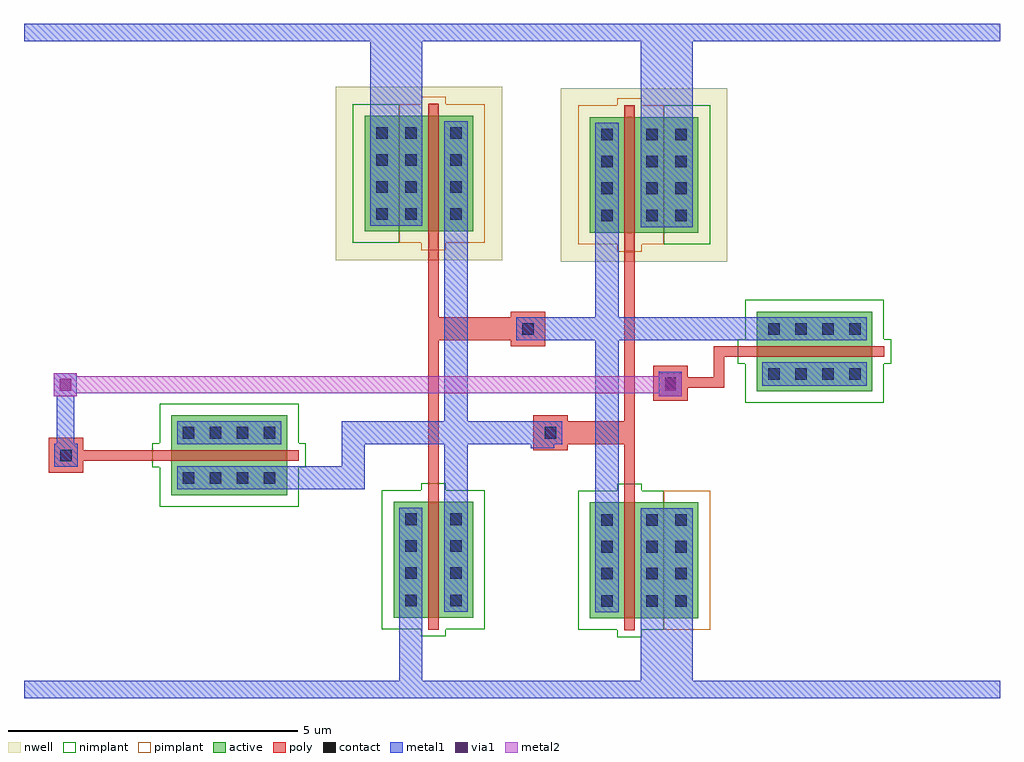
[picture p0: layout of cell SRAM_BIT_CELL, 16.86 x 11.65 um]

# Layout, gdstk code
from math import pi, radians
import gdstk
lib = gdstk.Library(unit=1e-6, precision=5e-10)
def R(c, l, rs):  # rectangles x0, y0, x1, y1
    for r in rs: c.add(gdstk.rectangle(r[:2], r[2:], *l))
def A(c, l, x, y, w, h, nx, ny, dx, dy):  # array of equal rectangles
    R(c, l, [(x+i*dx, y+j*dy, x+i*dx+w, y+j*dy+h) for i in range(nx) for j in range(ny)])
active = (1, 0)
nwell = (2, 0)
poly = (3, 0)
nimplant = (4, 0)
pimplant = (5, 0)
contact = (6, 0)
metal1 = (7, 0)
via1 = (8, 0)
metal2 = (9, 0)

nmos_cdns_774211529720 = lib.new_cell('nmos_CDNS_774211529720')
R(nmos_cdns_774211529720, active, [(-0.6,0,0,2), (0,0,0.18,2), (0.18,0,0.78,2)])
R(nmos_cdns_774211529720, poly, [(0,-0.205,0.18,-0.2), (0,-0.2,0.18,0), (0,0,0.18,2), (0,2,0.18,2.2), (0,2.2,0.18,2.205)])
R(nmos_cdns_774211529720, nimplant, [(-0.12,-0.325,0.3,-0.2), (-0.8,-0.2,0.98,2.2), (-0.12,2.2,0.3,2.325)])
A(nmos_cdns_774211529720, contact, -0.4, 0.67, 0.2, 0.2, 1, 3, 0, 0.465)
A(nmos_cdns_774211529720, contact, 0.38, 0.67, 0.2, 0.2, 1, 3, 0, 0.465)
R(nmos_cdns_774211529720, contact, [(-0.4,0.2,-0.2,0.4), (0.38,0.2,0.58,0.4)])
R(nmos_cdns_774211529720, metal1, [(-0.5,0.1,-0.1,1.9), (0.28,0.1,0.68,1.9)])

nmos_cdns_774211529721 = lib.new_cell('nmos_CDNS_774211529721')
R(nmos_cdns_774211529721, active, [(-0.6,0,0,2), (0,0,0.18,2), (0.18,0,1.28,2)])
R(nmos_cdns_774211529721, poly, [(0,-0.205,0.18,-0.2), (0,-0.2,0.18,0), (0,0,0.18,2), (0,2,0.18,2.2), (0,2.2,0.18,2.205)])
R(nmos_cdns_774211529721, nimplant, [(-0.12,-0.325,0.3,-0.2), (-0.8,-0.2,0.68,2.2), (-0.12,2.2,0.3,2.325)])
R(nmos_cdns_774211529721, pimplant, [(0.68,-0.2,1.48,2.2)])
A(nmos_cdns_774211529721, contact, -0.4, 0.67, 0.2, 0.2, 1, 3, 0, 0.465)
A(nmos_cdns_774211529721, contact, 0.38, 0.67, 0.2, 0.2, 1, 3, 0, 0.465)
A(nmos_cdns_774211529721, contact, 0.88, 0.67, 0.2, 0.2, 1, 3, 0, 0.465)
R(nmos_cdns_774211529721, contact, [(-0.4,0.2,-0.2,0.4), (0.38,0.2,0.58,0.4), (0.88,0.2,1.08,0.4)])
R(nmos_cdns_774211529721, metal1, [(-0.5,0.1,-0.1,1.9), (0.28,0.1,1.18,1.9), (0.28,0.1,1.18,1.9)])

pmos_cdns_774211529722 = lib.new_cell('pmos_CDNS_774211529722')
R(pmos_cdns_774211529722, active, [(-0.6,0,0,2), (0,0,0.18,2), (0.18,0,1.28,2)])
R(pmos_cdns_774211529722, nwell, [(-1.1,-0.5,1.78,2.5)])
R(pmos_cdns_774211529722, poly, [(0,-0.205,0.18,-0.2), (0,-0.2,0.18,0), (0,0,0.18,2), (0,2,0.18,2.2), (0,2.2,0.18,2.205)])
R(pmos_cdns_774211529722, nimplant, [(0.68,-0.2,1.48,2.2)])
R(pmos_cdns_774211529722, pimplant, [(-0.12,-0.325,0.3,-0.2), (-0.8,-0.2,0.68,2.2), (-0.12,2.2,0.3,2.325)])
A(pmos_cdns_774211529722, contact, -0.4, 0.67, 0.2, 0.2, 1, 3, 0, 0.465)
A(pmos_cdns_774211529722, contact, 0.38, 0.67, 0.2, 0.2, 1, 3, 0, 0.465)
A(pmos_cdns_774211529722, contact, 0.88, 0.67, 0.2, 0.2, 1, 3, 0, 0.465)
R(pmos_cdns_774211529722, contact, [(-0.4,0.2,-0.2,0.4), (0.38,0.2,0.58,0.4), (0.88,0.2,1.08,0.4)])
R(pmos_cdns_774211529722, metal1, [(-0.5,0.1,-0.1,1.9), (0.28,0.1,1.18,1.9), (0.28,0.1,1.18,1.9)])

pmos_cdns_774211529723 = lib.new_cell('pmos_CDNS_774211529723')
R(pmos_cdns_774211529723, active, [(-1.1,0,0,2), (0,0,0.18,2), (0.18,0,0.78,2)])
R(pmos_cdns_774211529723, nwell, [(-1.6,-0.5,1.28,2.5)])
R(pmos_cdns_774211529723, poly, [(0,-0.205,0.18,-0.2), (0,-0.2,0.18,0), (0,0,0.18,2), (0,2,0.18,2.2), (0,2.2,0.18,2.205)])
R(pmos_cdns_774211529723, nimplant, [(-1.3,-0.2,-0.5,2.2)])
R(pmos_cdns_774211529723, pimplant, [(-0.12,-0.325,0.3,-0.2), (-0.5,-0.2,0.98,2.2), (-0.12,2.2,0.3,2.325)])
A(pmos_cdns_774211529723, contact, -0.9, 0.67, 0.2, 0.2, 1, 3, 0, 0.465)
A(pmos_cdns_774211529723, contact, -0.4, 0.67, 0.2, 0.2, 1, 3, 0, 0.465)
A(pmos_cdns_774211529723, contact, 0.38, 0.67, 0.2, 0.2, 1, 3, 0, 0.465)
R(pmos_cdns_774211529723, contact, [(-0.9,0.2,-0.7,0.4), (-0.4,0.2,-0.2,0.4), (0.38,0.2,0.58,0.4)])
R(pmos_cdns_774211529723, metal1, [(-1,0.1,-0.1,1.9), (-1,0.1,-0.1,1.9), (0.28,0.1,0.68,1.9)])

m1_poly1_cdns_7742115297 = lib.new_cell('M1_POLY1_CDNS_774211529720')
R(m1_poly1_cdns_7742115297, poly, [(-0.3,-0.3,0.3,0.3)])
R(m1_poly1_cdns_7742115297, contact, [(-0.1,-0.1,0.1,0.1)])
R(m1_poly1_cdns_7742115297, metal1, [(-0.2,-0.2,0.2,0.2)])

m2_m1_cdns_774211529721 = lib.new_cell('M2_M1_CDNS_774211529721')
R(m2_m1_cdns_774211529721, metal1, [(-0.2,-0.2,0.2,0.2)])
R(m2_m1_cdns_774211529721, via1, [(-0.1,-0.1,0.1,0.1)])
R(m2_m1_cdns_774211529721, metal2, [(-0.2,-0.2,0.2,0.2)])

sram_bit_cell = lib.new_cell('SRAM_BIT_CELL')
R(sram_bit_cell, metal1, [(0.005,-1.385,16.87,-1.085), (0.57,2.685,0.87,2.985), (3.45,3.045,3.75,3.345), (13.94,4.095,14.24,4.395), (0.005,9.965,16.87,10.265)])
sram_bit_cell.add(gdstk.FlexPath([(12.46,4.605),(12.015,4.605)], 0.18, ends=(0, 0.09), simple_path=True, layer=3, datatype=0))  # poly
sram_bit_cell.add(gdstk.FlexPath([(12.015,4.605),(12.015,4.065)], 0.18, ends="extended", simple_path=True, layer=3, datatype=0))  # poly
sram_bit_cell.add(gdstk.FlexPath([(12.015,4.065),(11.175,4.065)], 0.18, ends="extended", simple_path=True, layer=3, datatype=0))  # poly
sram_bit_cell.add(gdstk.FlexPath([(11.175,4.065),(11.175,4.055)], 0.18, ends=(0.09, 0), simple_path=True, layer=3, datatype=0))  # poly
sram_bit_cell.add(gdstk.FlexPath([(9.105,3.2),(10.47,3.2)], 0.4, ends=(0, 0.09), simple_path=True, layer=3, datatype=0))  # poly
sram_bit_cell.add(gdstk.FlexPath([(10.47,6.685),(10.47,2.2)], 0.18, ends="flush", simple_path=True, layer=3, datatype=0))  # poly
sram_bit_cell.add(gdstk.FlexPath([(7.08,6.685),(7.08,2.21)], 0.18, ends="flush", simple_path=True, layer=3, datatype=0))  # poly
sram_bit_cell.add(gdstk.FlexPath([(8.715,4.995),(7.08,4.995)], 0.4, ends=(0, 0.09), simple_path=True, layer=3, datatype=0))  # poly
sram_bit_cell.add(gdstk.FlexPath([(2.345,2.81),(0.73,2.81)], 0.18, ends="flush", simple_path=True, layer=3, datatype=0))  # poly
sram_bit_cell.add(gdstk.FlexPath([(8.965,3.135),(8.925,3.135)], 0.4, ends=(0.2, 0), simple_path=True, layer=7, datatype=0))  # metal1
sram_bit_cell.add(gdstk.FlexPath([(8.965,3.2),(8.965,3.135)], 0.4, ends="extended", simple_path=True, layer=7, datatype=0))  # metal1
sram_bit_cell.add(gdstk.FlexPath([(5.695,3.2),(8.965,3.2)], 0.4, ends="extended", simple_path=True, layer=7, datatype=0))  # metal1
sram_bit_cell.add(gdstk.FlexPath([(5.695,2.42),(5.695,3.2)], 0.4, ends="extended", simple_path=True, layer=7, datatype=0))  # metal1
sram_bit_cell.add(gdstk.FlexPath([(9.11,3.175),(9.11,3.2)], 0.3, ends=(0, 0.15), simple_path=True, layer=7, datatype=0))  # metal1
sram_bit_cell.add(gdstk.FlexPath([(9.11,3.2),(9.105,3.2)], 0.3, ends=(0.15, 0), simple_path=True, layer=7, datatype=0))  # metal1
sram_bit_cell.add(gdstk.FlexPath([(6.69,0.105),(6.69,-1.385)], 0.4, ends="flush", simple_path=True, layer=7, datatype=0))  # metal1
sram_bit_cell.add(gdstk.FlexPath([(11.175,4.055),(11.175,4.03)], 0.3, ends="flush", simple_path=True, layer=7, datatype=0))  # metal1
sram_bit_cell.add(gdstk.FlexPath([(7.47,1.905),(7.47,6.99)], 0.4, ends="flush", simple_path=True, layer=7, datatype=0))  # metal1
sram_bit_cell.add(gdstk.FlexPath([(4.45,2.42),(5.695,2.42)], 0.4, ends=(0, 0.2), simple_path=True, layer=7, datatype=0))  # metal1
sram_bit_cell.add(gdstk.FlexPath([(11.11,0.815),(11.11,-1.385)], 0.9, ends="flush", simple_path=True, layer=7, datatype=0))  # metal1
sram_bit_cell.add(gdstk.FlexPath([(12.765,4.995),(8.715,4.995)], 0.4, ends=(0.2, 0), simple_path=True, layer=7, datatype=0))  # metal1
sram_bit_cell.add(gdstk.FlexPath([(10.08,6.99),(10.08,1.895)], 0.4, ends="flush", simple_path=True, layer=7, datatype=0))  # metal1
sram_bit_cell.add(gdstk.FlexPath([(12.765,4.97),(12.765,4.995)], 0.4, ends=(0, 0.2), simple_path=True, layer=7, datatype=0))  # metal1
sram_bit_cell.add(gdstk.FlexPath([(0.72,4.03),(0.72,2.835)], 0.3, ends="flush", simple_path=True, layer=7, datatype=0))  # metal1
sram_bit_cell.add(gdstk.FlexPath([(11.11,8.555),(11.11,10.265)], 0.9, ends="flush", simple_path=True, layer=7, datatype=0))  # metal1
sram_bit_cell.add(gdstk.FlexPath([(6.44,8.58),(6.44,10.265)], 0.9, ends="flush", simple_path=True, layer=7, datatype=0))  # metal1
sram_bit_cell.add(gdstk.FlexPath([(11.175,4.03),(0.72,4.03)], 0.3, ends="flush", simple_path=True, layer=9, datatype=0))  # metal2
sram_bit_cell.add(gdstk.Reference(nmos_cdns_774211529720, (12.665,4.515), rotation=pi/2, x_reflection=True))
sram_bit_cell.add(gdstk.Reference(nmos_cdns_774211529720, (4.55,2.9), rotation=3*pi/2, x_reflection=True))
sram_bit_cell.add(gdstk.Reference(nmos_cdns_774211529720, (7.17,0.005), rotation=pi, x_reflection=True))
sram_bit_cell.add(gdstk.Reference(nmos_cdns_774211529721, (10.38,-0.005)))
sram_bit_cell.add(gdstk.Reference(pmos_cdns_774211529722, (10.38,6.655)))
sram_bit_cell.add(gdstk.Reference(pmos_cdns_774211529723, (6.99,6.68)))
sram_bit_cell.add(gdstk.Reference(m1_poly1_cdns_7742115297, (11.175,4.055)))
sram_bit_cell.add(gdstk.Reference(m1_poly1_cdns_7742115297, (0.73,2.81)))
sram_bit_cell.add(gdstk.Reference(m1_poly1_cdns_7742115297, (9.105,3.2)))
sram_bit_cell.add(gdstk.Reference(m1_poly1_cdns_7742115297, (8.715,4.995)))
sram_bit_cell.add(gdstk.Reference(m2_m1_cdns_774211529721, (11.175,4.03)))
sram_bit_cell.add(gdstk.Reference(m2_m1_cdns_774211529721, (0.72,4.03)))

lib.write_gds('SRAM_BIT_CELL.gds')
